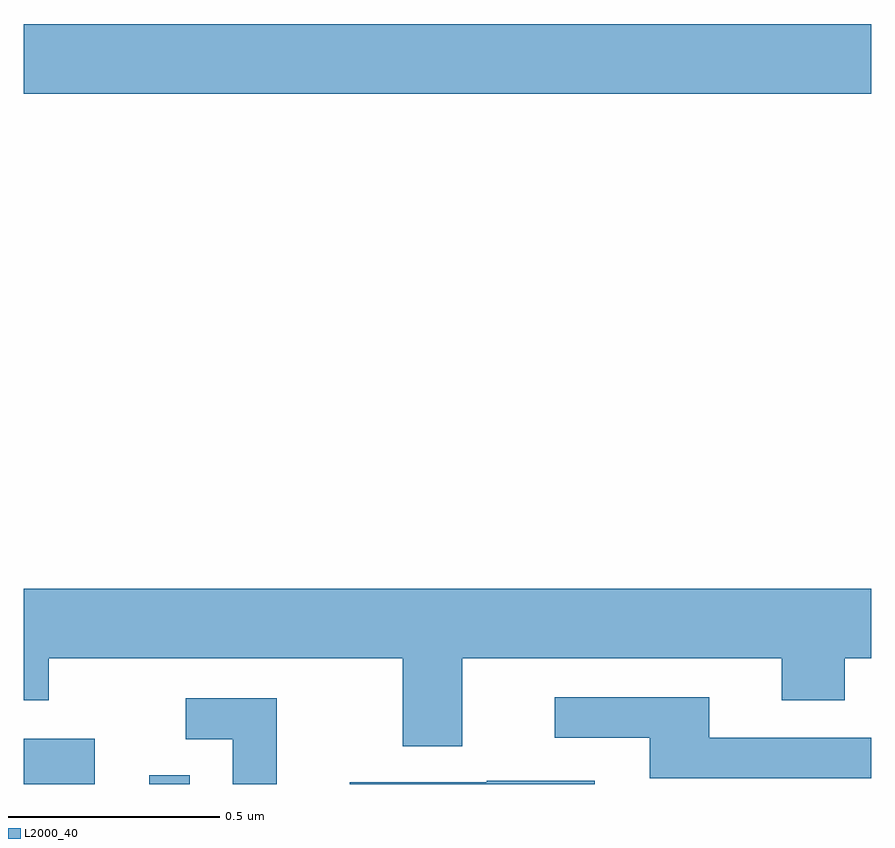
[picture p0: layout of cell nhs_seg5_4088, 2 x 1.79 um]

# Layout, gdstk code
import gdstk
lib = gdstk.Library(unit=1e-6, precision=1e-09)
def R(c, l, rs):  # rectangles x0, y0, x1, y1
    for r in rs: c.add(gdstk.rectangle(r[:2], r[2:], *l))
def P(c, l, *ps):  # polygons
    for p in ps: c.add(gdstk.Polygon(p, *l))
L2000_40 = (2000, 40)

nhs_seg5_4088 = lib.new_cell('nhs_seg5_4088')
R(nhs_seg5_4088, L2000_40, [(166,853.799,166.168,853.906), (166.296,853.799,166.392,853.82), (166,855.428,168,855.592)])
P(nhs_seg5_4088, L2000_40, [(167.035,854.096),(167.789,854.096),(167.789,853.997),(167.937,853.997),(167.937,854.096),(168,854.096),(168,854.26),(166,854.26),(166,853.997),(166.059,853.997),(166.059,854.096),(166.895,854.096),(166.895,853.888),(167.035,853.888)],
  [(168,853.908),(167.617,853.908),(167.617,854.004),(167.253,854.004),(167.253,853.908),(167.477,853.908),(167.477,853.812),(168,853.812)],
  [(166.597,854.001),(166.383,854.001),(166.383,853.905),(166.493,853.905),(166.493,853.799),(166.597,853.799)],
  [(167.347,853.807),(167.093,853.807),(167.093,853.803),(166.769,853.803),(166.769,853.799),(167.347,853.799)])

lib.write_gds('nhs_seg5_4088.gds')
